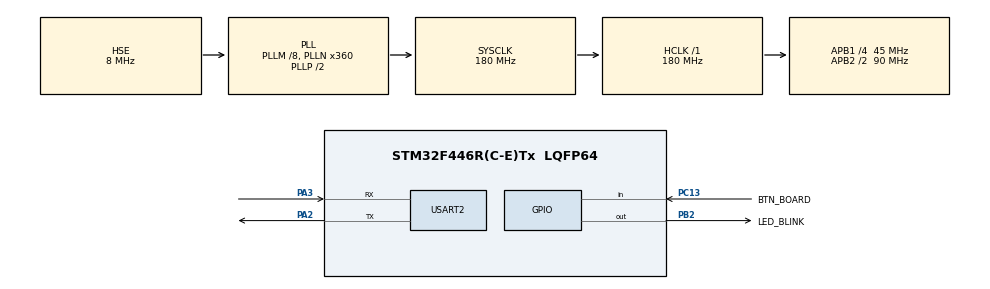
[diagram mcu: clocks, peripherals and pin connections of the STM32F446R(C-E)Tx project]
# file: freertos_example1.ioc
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FREERTOS.Tasks01=defaultTask,24,128,StartDefaultTask,Default,NULL,Dynamic,NULL,NULL
FREERTOS.configUSE_NEWLIB_REENTRANT=1
Mcu.Family=STM32F4
Mcu.Name=STM32F446R(C-E)Tx
Mcu.Package=LQFP64
NVIC.PriorityGroup=NVIC_PRIORITYGROUP_4
NVIC.TIM8_TRG_COM_TIM14_IRQn=true\:15\:0\:false\:false\:true\:false\:false\:true\:true
NVIC.TimeBase=TIM8_TRG_COM_TIM14_IRQn
NVIC.TimeBaseIP=TIM14
PA13.Mode=Serial_Wire
PA13.Signal=SYS_JTMS-SWDIO
PA14.Mode=Serial_Wire
PA14.Signal=SYS_JTCK-SWCLK
PA2.Mode=Asynchronous
PA2.Signal=USART2_TX
PA3.Mode=Asynchronous
PA3.Signal=USART2_RX
PB2.GPIO_Label=LED_BLINK
PB2.Signal=GPIO_Output
PC13.GPIO_Label=BTN_BOARD
PC13.Signal=GPIO_Input
PH0-OSC_IN.Mode=HSE-External-Oscillator
PH0-OSC_IN.Signal=RCC_OSC_IN
PH1-OSC_OUT.Mode=HSE-External-Oscillator
PH1-OSC_OUT.Signal=RCC_OSC_OUT
ProjectManager.HeapSize=0x200
ProjectManager.StackSize=0x400
ProjectManager.TargetToolchain=STM32CubeIDE
RCC.AHBFreq_Value=180000000
RCC.APB1CLKDivider=RCC_HCLK_DIV4
RCC.APB1Freq_Value=45000000
RCC.APB1TimFreq_Value=90000000
RCC.APB2CLKDivider=RCC_HCLK_DIV2
RCC.APB2Freq_Value=90000000
RCC.APB2TimFreq_Value=180000000
RCC.CortexFreq_Value=180000000
RCC.HCLKFreq_Value=180000000
RCC.HSE_VALUE=8000000
RCC.PLLM=8
RCC.PLLN=360
RCC.PLLSourceVirtual=RCC_PLLSOURCE_HSE
RCC.SYSCLKFreq_VALUE=180000000
RCC.SYSCLKSource=RCC_SYSCLKSOURCE_PLLCLK
RCC.USBFreq_Value=180000000
RCC.VCOOutputFreq_Value=360000000
USART2.VirtualMode=VM_ASYNC
VP_FREERTOS_VS_CMSIS_V2.Mode=CMSIS_V2
VP_SYS_VS_tim14.Mode=TIM14
board=custom

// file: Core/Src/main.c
/* USER CODE BEGIN Header */
/**
  ******************************************************************************
  * @file           : main.c
  * @brief          : Main program body
  ******************************************************************************
  * @attention
  *
  * Copyright (c) 2026 STMicroelectronics.
  * All rights reserved.
  *
  * This software is licensed under terms that can be found in the LICENSE file
  * in the root directory of this software component.
  * If no LICENSE file comes with this software, it is provided AS-IS.
  *
  ******************************************************************************
  */
/* USER CODE END Header */
#include "main.h"
#include "cmsis_os.h"

/* USER CODE BEGIN Includes */
#include "task.h"
#include <stdio.h>
#include <string.h>
/* USER CODE END Includes */

UART_HandleTypeDef huart2;

/* Definitions for defaultTask */
osThreadId_t defaultTaskHandle;
const osThreadAttr_t defaultTask_attributes = {
  .name = "defaultTask",
  .stack_size = 128 * 4,
  .priority = (osPriority_t) osPriorityNormal,
};

void SystemClock_Config(void);
static void MX_GPIO_Init(void);
static void MX_USART2_UART_Init(void);
void StartDefaultTask(void *argument);

/* USER CODE BEGIN 0 */
void led_task(void *p) {
	while(1) {
       HAL_GPIO_TogglePin(LED_BLINK_GPIO_Port, LED_BLINK_Pin);
       vTaskDelay(1000 / portTICK_PERIOD_MS);
	}
}

void serial_task(void *p) {
	char str[32];
	TickType_t xLastWakeTime;
	xLastWakeTime = xTaskGetTickCount();

	while(1) {
       snprintf(str, sizeof(str)-1, "%010lu\r\n", HAL_GetTick());
       HAL_UART_Transmit(&huart2, (uint8_t*)str, strlen(str), 100);
       vTaskDelayUntil(&xLastWakeTime, 500);
	}
}
/* USER CODE END 0 */

int main(void)
{

  /* MCU Configuration--------------------------------------------------------*/

  /* Reset of all peripherals, Initializes the Flash interface and the Systick. */
  HAL_Init();

  /* Configure the system clock */
  SystemClock_Config();

  /* Initialize all configured peripherals */
  MX_GPIO_Init();
  MX_USART2_UART_Init();
  /* USER CODE BEGIN 2 */
  uint32_t currentTicks;
  /* USER CODE END 2 */

  /* Init scheduler */
  osKernelInitialize();

  /* Create the thread(s) */
  /* creation of defaultTask */
  defaultTaskHandle = osThreadNew(StartDefaultTask, NULL, &defaultTask_attributes);

  /* USER CODE BEGIN RTOS_THREADS */
  /* add threads, ... */
  xTaskCreate(led_task, "LED", configMINIMAL_STACK_SIZE, NULL, osPriorityNormal, NULL);
  xTaskCreate(serial_task, "SERIAL", configMINIMAL_STACK_SIZE * 4, NULL, osPriorityNormal, NULL);
  /* USER CODE END RTOS_THREADS */

  /* Start scheduler */
  osKernelStart();

  /* We should never get here as control is now taken by the scheduler */

  /* Infinite loop */
  while (1)
  {

  }
}

void SystemClock_Config(void)
{
  RCC_OscInitTypeDef RCC_OscInitStruct = {0};
  RCC_ClkInitTypeDef RCC_ClkInitStruct = {0};

  /** Configure the main internal regulator output voltage
  */
  __HAL_RCC_PWR_CLK_ENABLE();
  __HAL_PWR_VOLTAGESCALING_CONFIG(PWR_REGULATOR_VOLTAGE_SCALE1);

  /** Initializes the RCC Oscillators according to the specified parameters
  * in the RCC_OscInitTypeDef structure.
  */
  RCC_OscInitStruct.OscillatorType = RCC_OSCILLATORTYPE_HSE;
  RCC_OscInitStruct.HSEState = RCC_HSE_ON;
  RCC_OscInitStruct.PLL.PLLState = RCC_PLL_ON;
  RCC_OscInitStruct.PLL.PLLSource = RCC_PLLSOURCE_HSE;
  RCC_OscInitStruct.PLL.PLLM = 8;
  RCC_OscInitStruct.PLL.PLLN = 360;
  RCC_OscInitStruct.PLL.PLLP = RCC_PLLP_DIV2;
  RCC_OscInitStruct.PLL.PLLQ = 2;
  RCC_OscInitStruct.PLL.PLLR = 2;
  if (HAL_RCC_OscConfig(&RCC_OscInitStruct) != HAL_OK)
  {
    Error_Handler();
  }

  /** Activate the Over-Drive mode
  */
  if (HAL_PWREx_EnableOverDrive() != HAL_OK)
  {
    Error_Handler();
  }

  /** Initializes the CPU, AHB and APB buses clocks
  */
  RCC_ClkInitStruct.ClockType = RCC_CLOCKTYPE_HCLK|RCC_CLOCKTYPE_SYSCLK
                              |RCC_CLOCKTYPE_PCLK1|RCC_CLOCKTYPE_PCLK2;
  RCC_ClkInitStruct.SYSCLKSource = RCC_SYSCLKSOURCE_PLLCLK;
  RCC_ClkInitStruct.AHBCLKDivider = RCC_SYSCLK_DIV1;
  RCC_ClkInitStruct.APB1CLKDivider = RCC_HCLK_DIV4;
  RCC_ClkInitStruct.APB2CLKDivider = RCC_HCLK_DIV2;

  if (HAL_RCC_ClockConfig(&RCC_ClkInitStruct, FLASH_LATENCY_5) != HAL_OK)
  {
    Error_Handler();
  }
}

static void MX_USART2_UART_Init(void)
{

  huart2.Instance = USART2;
  huart2.Init.BaudRate = 115200;
  huart2.Init.WordLength = UART_WORDLENGTH_8B;
  huart2.Init.StopBits = UART_STOPBITS_1;
  huart2.Init.Parity = UART_PARITY_NONE;
  huart2.Init.Mode = UART_MODE_TX_RX;
  huart2.Init.HwFlowCtl = UART_HWCONTROL_NONE;
  huart2.Init.OverSampling = UART_OVERSAMPLING_16;
  if (HAL_UART_Init(&huart2) != HAL_OK)
  {
    Error_Handler();
  }

}

static void MX_GPIO_Init(void)
{
  GPIO_InitTypeDef GPIO_InitStruct = {0};

  /* GPIO Ports Clock Enable */
  __HAL_RCC_GPIOC_CLK_ENABLE();
  __HAL_RCC_GPIOH_CLK_ENABLE();
  __HAL_RCC_GPIOA_CLK_ENABLE();
  __HAL_RCC_GPIOB_CLK_ENABLE();

  /*Configure GPIO pin Output Level */
  HAL_GPIO_WritePin(LED_BLINK_GPIO_Port, LED_BLINK_Pin, GPIO_PIN_RESET);

  /*Configure GPIO pin : BTN_BOARD_Pin */
  GPIO_InitStruct.Pin = BTN_BOARD_Pin;
  GPIO_InitStruct.Mode = GPIO_MODE_INPUT;
  GPIO_InitStruct.Pull = GPIO_NOPULL;
  HAL_GPIO_Init(BTN_BOARD_GPIO_Port, &GPIO_InitStruct);

  /*Configure GPIO pin : LED_BLINK_Pin */
  GPIO_InitStruct.Pin = LED_BLINK_Pin;
  GPIO_InitStruct.Mode = GPIO_MODE_OUTPUT_PP;
  GPIO_InitStruct.Pull = GPIO_NOPULL;
  GPIO_InitStruct.Speed = GPIO_SPEED_FREQ_LOW;
  HAL_GPIO_Init(LED_BLINK_GPIO_Port, &GPIO_InitStruct);

}

void StartDefaultTask(void *argument)
{
  for(;;)
  {
    osDelay(1);
  }
}

void HAL_TIM_PeriodElapsedCallback(TIM_HandleTypeDef *htim)
{
  if (htim->Instance == TIM14)
  {
    HAL_IncTick();
  }
}

void Error_Handler(void)
{
  __disable_irq();
  while (1)
  {
  }
}
